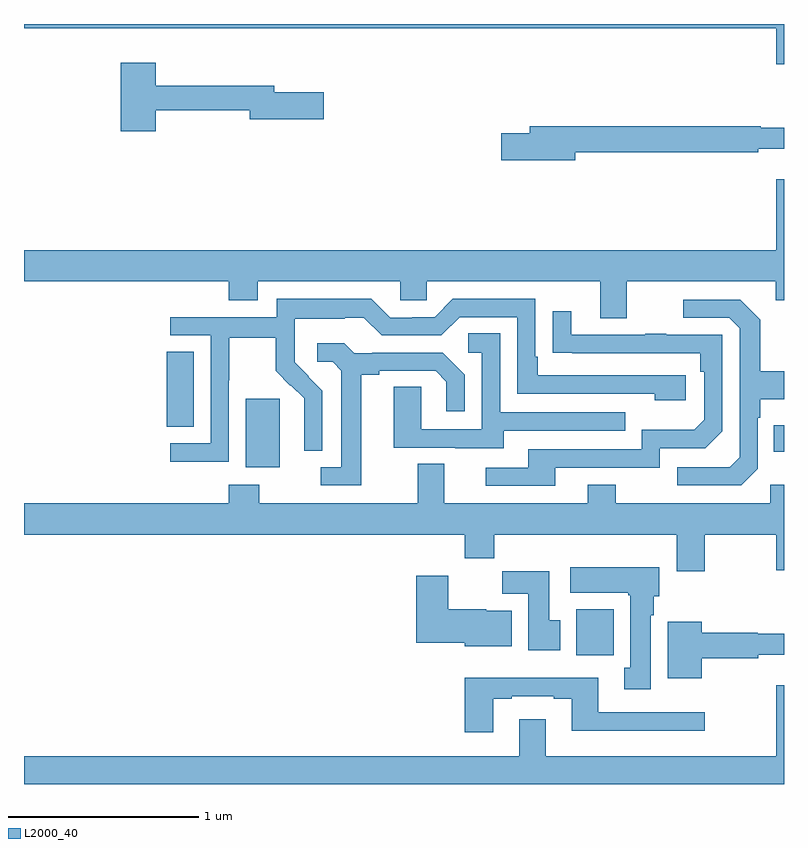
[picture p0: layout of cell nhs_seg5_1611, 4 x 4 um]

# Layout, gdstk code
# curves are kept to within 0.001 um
import gdstk
lib = gdstk.Library(unit=1e-6, precision=1e-09)
def R(c, l, rs):  # rectangles x0, y0, x1, y1
    for r in rs: c.add(gdstk.rectangle(r[:2], r[2:], *l))
def P(c, l, *ps):  # polygons
    for p in ps: c.add(gdstk.Polygon(p, *l))
L2000_40 = (2000, 40)

nhs_seg5_1611 = lib.new_cell('nhs_seg5_1611')
R(nhs_seg5_1611, L2000_40, [(211.907,837.476,212.104,837.718), (210.167,838.466,210.346,838.827), (212.947,838.547,213,838.687), (209.75,838.678,209.893,839.075)])
P(nhs_seg5_1611, L2000_40, [(213,840.799),(209,840.799),(209,840.776),(212.96,840.776),(212.96,840.588),(213,840.588)],
  [(209.693,840.346),(210.188,840.346),(210.188,840.299),(210.577,840.299),(210.577,840.441),(210.316,840.441),(210.316,840.475),(209.693,840.475),(209.693,840.595),(209.51,840.595),(209.51,840.234),(209.693,840.234)],
  [(211.9,840.124),(212.864,840.124),(212.864,840.143),(213,840.143),(213,840.253),(212.878,840.253),(212.878,840.26),(211.661,840.26),(211.661,840.224),(211.512,840.224),(211.512,840.082),(211.9,840.082)],
  [(212.173,839.444),(212.957,839.444),(212.957,839.345),(213,839.345),(213,839.983),(212.96,839.983),(212.96,839.608),(209,839.608),(209,839.444),(210.077,839.444),(210.077,839.345),(210.229,839.345),(210.229,839.444),(210.981,839.444),(210.981,839.346),(211.119,839.346),(211.119,839.444),(212.033,839.444),(212.033,839.25),(212.173,839.25)],
  [(210.078,838.924),(210.081,838.924),(210.081,839.148),(210.325,839.148),(210.325,838.973),(210.402,838.896),(210.405,838.899),(210.476,838.829),(210.476,838.706),(210.474,838.706),(210.474,838.552),(210.57,838.552),(210.57,838.87),(210.424,839.018),(210.424,839.115),(210.426,839.115),(210.426,839.249),(210.689,839.249),(210.689,839.253),(210.789,839.253),(210.882,839.16),(211.197,839.16),(211.293,839.256),(211.596,839.256),(211.596,838.854),(212.321,838.854),(212.321,838.82),(212.482,838.82),(212.482,838.95),(211.705,838.95),(211.705,839.047),(211.692,839.047),(211.692,839.352),(211.257,839.352),(211.161,839.256),(211.043,839.256),(211.043,839.253),(210.927,839.253),(210.827,839.353),(210.33,839.353),(210.33,839.256),(209.769,839.256),(209.769,839.16),(209.982,839.16),(209.982,838.593),(209.769,838.593),(209.769,838.495),(210.078,838.495)],
  [(212.862,838.458),(212.862,838.727),(212.875,838.727),(212.875,838.823),(213,838.823),(213,838.971),(212.875,838.971),(212.875,839.243),(212.769,839.349),(212.469,839.349),(212.469,839.253),(212.712,839.253),(212.766,839.199),(212.766,838.518),(212.715,838.467),(212.439,838.467),(212.439,838.371),(212.775,838.371)],
  [(211.795,838.464),(212.346,838.464),(212.346,838.566),(212.586,838.566),(212.676,838.656),(212.676,839.163),(212.381,839.163),(212.381,839.168),(212.269,839.168),(212.269,839.163),(211.879,839.163),(211.879,839.287),(211.783,839.287),(211.783,839.068),(212.56,839.067),(212.56,838.97),(212.58,838.97),(212.58,838.716),(212.527,838.663),(212.25,838.663),(212.25,838.56),(211.655,838.56),(211.655,838.464),(211.431,838.464),(211.431,838.368),(211.795,838.368)],
  [(211.525,838.659),(212.165,838.659),(212.165,838.755),(211.506,838.755),(211.506,839.171),(211.338,839.171),(211.338,839.07),(211.41,839.07),(211.41,838.665),(211.092,838.665),(211.092,838.889),(210.947,838.889),(210.947,838.569),(211.271,838.569),(211.271,838.565),(211.525,838.565)],
  [(210.775,838.952),(210.871,838.952),(210.871,838.974),(211.166,838.974),(211.223,838.917),(211.223,838.761),(211.32,838.761),(211.32,838.954),(211.204,839.07),(210.832,839.07),(210.832,839.067),(210.738,839.067),(210.686,839.119),(210.543,839.119),(210.543,839.022),(210.624,839.022),(210.671,838.975),(210.671,838.467),(210.561,838.467),(210.561,838.371),(210.775,838.371)],
  [(212.583,838.112),(212.96,838.112),(212.96,837.924),(213,837.924),(213,838.375),(212.928,838.375),(212.928,838.276),(212.115,838.276),(212.115,838.375),(211.967,838.375),(211.967,838.276),(211.213,838.276),(211.213,838.484),(211.073,838.484),(211.073,838.276),(210.237,838.276),(210.237,838.375),(210.077,838.375),(210.077,838.276),(209,838.276),(209,838.112),(211.319,838.112),(211.319,837.988),(211.475,837.988),(211.475,838.112),(212.435,838.112),(212.435,837.918),(212.583,837.918)],
  [(212.299,837.686),(212.314,837.686),(212.314,837.786),(212.344,837.786),(212.344,837.94),(211.875,837.94),(211.875,837.806),(212.179,837.806),(212.179,837.793),(212.192,837.793),(212.192,837.41),(212.159,837.41),(212.159,837.297),(212.299,837.297)],
  [(211.822,837.66),(211.765,837.66),(211.765,837.919),(211.516,837.919),(211.516,837.8),(211.655,837.8),(211.655,837.504),(211.822,837.504)],
  [(211.567,837.712),(211.434,837.712),(211.434,837.718),(211.234,837.718),(211.234,837.895),(211.064,837.895),(211.064,837.542),(211.32,837.542),(211.32,837.524),(211.567,837.524)],
  [(212.566,837.46),(212.864,837.46),(212.864,837.479),(213,837.479),(213,837.589),(212.862,837.589),(212.862,837.596),(212.566,837.596),(212.566,837.652),(212.387,837.652),(212.387,837.356),(212.566,837.356)],
  [(211.471,837.249),(211.567,837.249),(211.567,837.261),(211.787,837.261),(211.787,837.249),(211.883,837.249),(211.883,837.08),(212.584,837.08),(212.584,837.177),(212.023,837.177),(212.023,837.358),(211.319,837.358),(211.319,837.072),(211.471,837.072)],
  [(213,837.319),(212.96,837.319),(212.96,836.944),(211.747,836.944),(211.747,837.139),(211.607,837.139),(211.607,836.944),(209,836.944),(209,836.799),(213,836.799)])

lib.write_gds('nhs_seg5_1611.gds')
